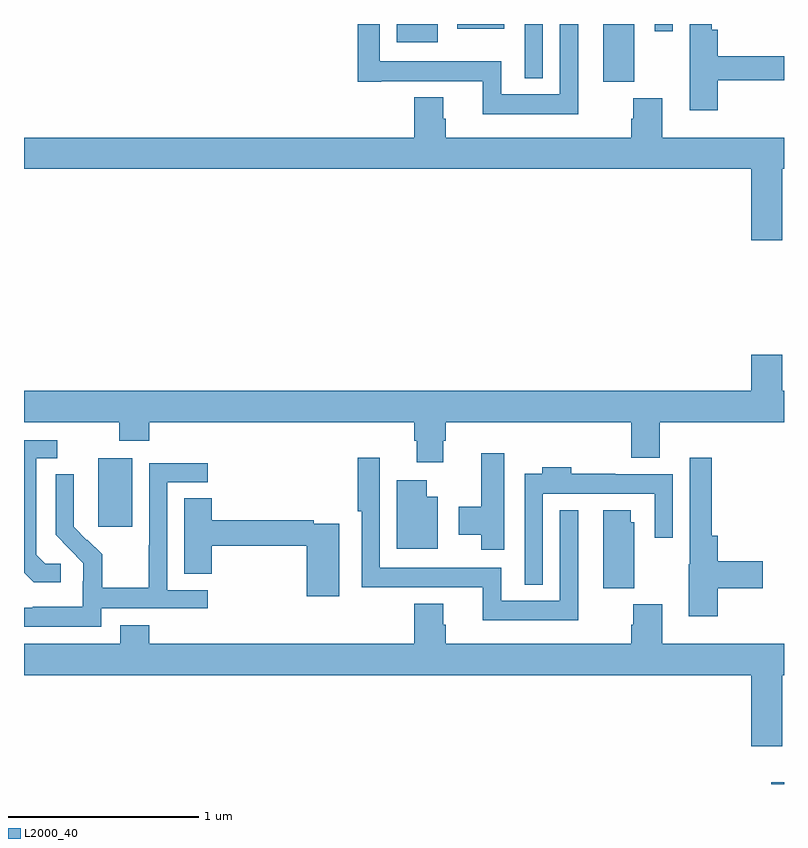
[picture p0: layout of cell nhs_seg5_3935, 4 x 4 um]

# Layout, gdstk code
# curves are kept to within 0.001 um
import gdstk
lib = gdstk.Library(unit=1e-6, precision=1e-09)
def R(c, l, rs):  # rectangles x0, y0, x1, y1
    for r in rs: c.add(gdstk.rectangle(r[:2], r[2:], *l))
def P(c, l, *ps):  # polygons
    for p in ps: c.add(gdstk.Polygon(p, *l))
L2000_40 = (2000, 40)

nhs_seg5_3935 = lib.new_cell('nhs_seg5_3935')
R(nhs_seg5_3935, L2000_40, [(344.934,910.799,345,910.807), (341.39,912.153,341.569,912.514), (344.048,914.494,344.212,914.799), (343.635,914.513,343.731,914.799), (342.962,914.702,343.177,914.799), (344.319,914.76,344.415,914.799), (343.281,914.774,343.528,914.799)])
P(nhs_seg5_3935, L2000_40, [(344.651,914.502),(345,914.502),(345,914.63),(344.651,914.63),(344.651,914.77),(344.621,914.77),(344.621,914.799),(344.505,914.799),(344.505,914.607),(344.504,914.607),(344.504,914.346),(344.651,914.346)],
  [(343.918,914.799),(343.821,914.799),(343.821,914.428),(343.512,914.428),(343.512,914.602),(342.873,914.602),(342.873,914.799),(342.757,914.799),(342.757,914.496),(342.88,914.496),(342.88,914.498),(343.415,914.498),(343.415,914.324),(343.918,914.324)],
  [(344.992,914.036),(345,914.036),(345,914.2),(344.36,914.2),(344.36,914.409),(344.207,914.409),(344.207,914.3),(344.195,914.3),(344.195,914.2),(343.22,914.2),(343.22,914.301),(343.207,914.301),(343.207,914.413),(343.055,914.413),(343.055,914.2),(341,914.2),(341,914.036),(344.828,914.036),(344.828,913.662),(344.992,913.662)],
  [(343.207,912.606),(343.22,912.606),(343.22,912.704),(344.195,912.704),(344.195,912.515),(344.347,912.515),(344.347,912.704),(345,912.704),(345,912.868),(344.992,912.868),(344.992,913.057),(344.828,913.057),(344.828,912.868),(341,912.868),(341,912.704),(341.5,912.704),(341.5,912.605),(341.66,912.605),(341.66,912.704),(343.055,912.704),(343.055,912.606),(343.067,912.606),(343.067,912.492),(343.207,912.492)],
  [(341.194,911.958),(341.112,911.958),(341.065,912.005),(341.065,912.513),(341.176,912.513),(341.176,912.609),(341,912.609),(341,911.911),(341.05,911.861),(341.194,911.861)],
  [(343.528,912.541),(343.406,912.541),(343.406,912.258),(343.289,912.258),(343.289,912.11),(343.406,912.11),(343.406,912.033),(343.528,912.033)],
  [(343.918,912.241),(343.821,912.241),(343.821,911.764),(343.512,911.764),(343.512,911.938),(342.873,911.938),(342.873,912.517),(342.757,912.517),(342.757,912.235),(342.777,912.235),(342.777,911.834),(343.415,911.834),(343.415,911.66),(343.918,911.66)],
  [(344.651,911.83),(344.887,911.83),(344.887,911.972),(344.651,911.972),(344.651,912.106),(344.621,912.106),(344.621,912.517),(344.505,912.517),(344.505,911.955),(344.498,911.955),(344.498,911.682),(344.651,911.682)],
  [(341.406,911.724),(341.968,911.724),(341.968,911.82),(341.754,911.82),(341.754,912.387),(341.968,912.387),(341.968,912.486),(341.658,912.486),(341.658,912.056),(341.656,912.056),(341.656,911.833),(341.411,911.833),(341.411,912.007),(341.334,912.084),(341.331,912.081),(341.261,912.152),(341.262,912.428),(341.166,912.428),(341.166,912.11),(341.312,911.962),(341.312,911.865),(341.31,911.865),(341.31,911.731),(341.047,911.731),(341.047,911.727),(341,911.727),(341,911.627),(341.406,911.627)],
  [(343.731,912.326),(344.319,912.326),(344.319,912.096),(344.415,912.096),(344.415,912.43),(344.111,912.43),(344.111,912.433),(343.88,912.433),(343.88,912.466),(343.727,912.466),(343.727,912.433),(343.635,912.433),(343.635,911.849),(343.731,911.849)],
  [(343.177,912.31),(343.12,912.31),(343.12,912.397),(342.962,912.397),(342.962,912.038),(343.177,912.038)],
  [(342.658,912.168),(342.524,912.168),(342.524,912.188),(341.987,912.188),(341.987,912.302),(341.843,912.302),(341.843,911.905),(341.987,911.905),(341.987,912.052),(342.488,912.052),(342.488,911.787),(342.658,911.787)],
  [(344.212,912.177),(344.194,912.177),(344.194,912.241),(344.048,912.241),(344.048,911.83),(344.212,911.83)],
  [(344.992,911.372),(345,911.372),(345,911.536),(344.36,911.536),(344.36,911.745),(344.207,911.745),(344.207,911.636),(344.195,911.636),(344.195,911.536),(343.22,911.536),(343.22,911.637),(343.207,911.637),(343.207,911.749),(343.055,911.749),(343.055,911.536),(341.66,911.536),(341.66,911.635),(341.507,911.635),(341.507,911.536),(341,911.536),(341,911.372),(344.828,911.372),(344.828,910.998),(344.992,910.998)])

lib.write_gds('nhs_seg5_3935.gds')
